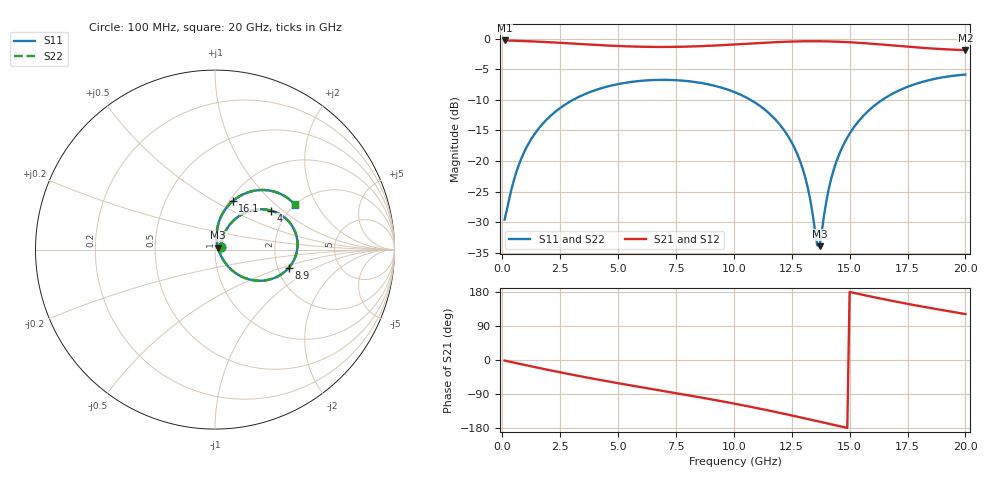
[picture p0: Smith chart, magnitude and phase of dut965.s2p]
! Touchstone file exported from HFSS 2026.1.0
!  File:  C:/ffzhzh/LocalFiles/Ansys_Project_Files/temp_train_TSV_RDL_965_1783284825_5512.aedt
!  Generated:  05:05:18 AM Jul  6, 2026
!  Design:  TSV_RDL
!  Project:  temp_train_TSV_RDL_965_1783284825_5512
! Variables:
!  h_bsmrdl = 2.93um
!  h_ox = 20um
!  h_rdl = 5um
!  h_sub = 93.85um
!  h_tmrdl = 2.15um
!  h_tsv = 93.85um
!  h_via = 3um
!  l_bsmrdl = 125.27um
!  l_sub = 3441.35um
!  l_tmrdl = 633.76um
!  m_sub = 200um
!  pitch = 45.11um
!  r_tsv = 13.84um
!  s_tmrdl = 10um
!  w_bsmrdl = 29.05um
!  w_sub = 500um
!  w_tmrdl = 14.45um
!  x_tsv_center1 = 640.985um
!  x_tsv_center2 = 795.305um
!  x_tsv_center3 = 1443.515um
!  x_tsv_center4 = 1597.835um
!  x_tsv_center5 = 2246.045um
!  x_tsv_center6 = 2400.365um
# GHz S MA R 50.000000
! Terminal data exported
! Port[1] = TM_RDL1_1_T1
! Port[2] = TM_RDL5_1_T1
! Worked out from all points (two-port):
!   200 points, 100 MHz to 20 GHz, reference 50 ohm
!   highest |S21| = -0.27 dB at 100 MHz (marker M1); lowest = -1.9 dB at 20 GHz (marker M2)
!   |S21| within 3 dB of the highest: start of sweep to end of sweep
!   lowest |S11| = -33.9 dB at 13.7 GHz (marker M3), VSWR 1.04, Z = 51.7 + j1.09 ohm
!   |S11| at or under -10 dB: start of sweep to 3.051 GHz; 10.72 GHz to 16.41 GHz (5.682 GHz wide, 41.9 % of centre)
!   |S22| runs from -33.9 to -5.9 dB; largest |S21 - S12| = 1.6e-14
!   S11 on the Smith chart (normalised r, x): 100 MHz: 1.06, +0.03; 4 GHz: 1.64, +0.83; 8.9 GHz: 2.30, -0.56; 16.1 GHz: 1.04, +0.61; 20 GHz: 1.99, +1.35
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0.1  0.03318 21.5  0.9693 -1.4  0.9693 -1.4  0.03318 21.5
! Gamma 0 0 0 0
! Port Impedance 50 0 50 0
0.6  0.08046 57.9  0.9637 -8.2  0.9637 -8.2  0.08046 57.8
1.3  0.1563 59.7  0.9523 -17.4  0.9523 -17.4  0.1563 59.7
2.2  0.245 52.9  0.9341 -28.8  0.9341 -28.8  0.245 52.9
3.5  0.3483 40.1  0.9035 -44.5  0.9035 -44.5  0.3483 40.1
4  0.3792 35.1  0.8922 -50.2  0.8922 -50.2  0.3792 35.1
6.8  0.4612 7.3  0.8578 -80.2  0.8578 -80.2  0.4612 7.3
8.9  0.4239 -13.7  0.8758 -102.4  0.8758 -102.4  0.4239 -13.7
10.1  0.3615 -26.4  0.9003 -116.0  0.9003 -116.0  0.3616 -26.4
11.4  0.2574 -40.6  0.9303 -131.9  0.9303 -131.9  0.2574 -40.5
12.3  0.1643 -49.6  0.947 -143.7  0.947 -143.7  0.1643 -49.5
13  0.08337 -52.1  0.9543 -153.1  0.9543 -153.1  0.08339 -52.1
13.4  0.03721 -39.6  0.9555 -158.6  0.9555 -158.6  0.03726 -39.5
13.6  0.02044 -3.0  0.9553 -161.3  0.9553 -161.3  0.02053 -2.9
13.7  0.0201 31.7  0.9549 -162.7  0.9549 -162.7  0.02019 31.6
14.1  0.05922 80.8  0.9519 -168.2  0.9519 -168.2  0.05924 80.7
14.5  0.1075 84.1  0.9466 -173.7  0.9466 -173.7  0.1075 84.1
15.2  0.1904 79.4  0.9322 176.8  0.9322 176.8  0.1904 79.4
16.1  0.2869 70.0  0.9068 165.1  0.9068 165.1  0.2869 70.0
16.7  0.3425 63.4  0.8877 157.7  0.8877 157.7  0.3425 63.4
18.2  0.4472 47.4  0.8421 140.3  0.8421 140.3  0.4472 47.4
20  0.5097 29.5  0.808 121.2  0.808 121.2  0.5098 29.6
